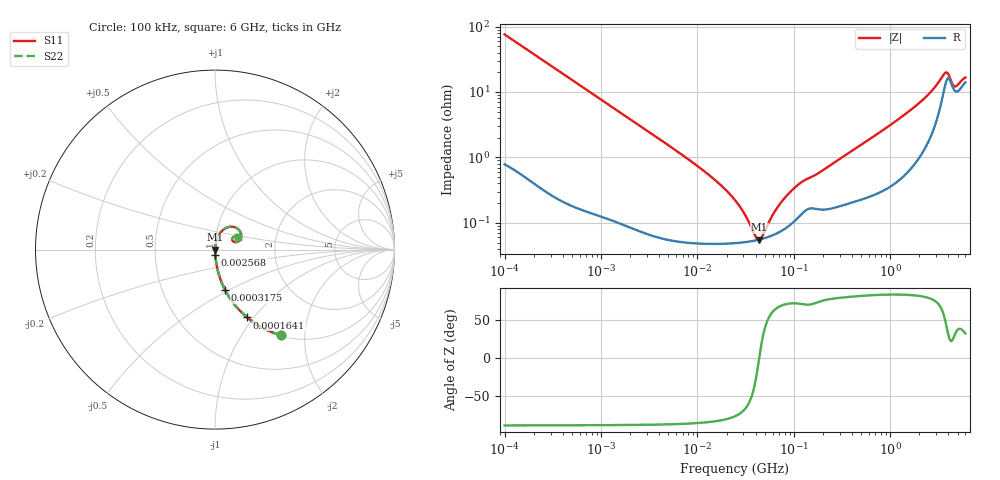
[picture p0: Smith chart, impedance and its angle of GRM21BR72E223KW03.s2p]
!Murata Part Number: GRM21BR72E223KW03
!These Parameters are Measured in Series Mode Connection
!Data Generated on Mar 30, 2021
!  o--ll--o
!Port1  Port2
!  o------o
!Operation Temp=25[degC], DC Bias Voltage=0[V]
!Freq. Start=100[kHz] Stop=6[GHz] 401[Steps]
# Hz S RI R 50
!Freq.(Hz) S11(Real) S11(Imag) S21(Real) S21(Imag) S12(Real) S12(Imag) S22(Real) S22(Imag)
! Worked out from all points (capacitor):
!   401 points, 100 kHz to 6 GHz, reference 50 ohm
!   read as one part in series: C = 21 nF near 105.7 kHz
!   lowest |Z| = 55.5 mohm at 43.64 MHz (marker M1)
!   series resonance near 43.7 MHz, so ESL is about 630 pH
!   S11 on the Smith chart (normalised r, x): 100 kHz: 1.02, -1.51; 164.1 kHz: 1.01, -0.93; 317.5 kHz: 1.01, -0.48; 2.568 MHz: 1.00, -0.06; 6 GHz: 1.28, +0.18
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100000  0.3654 -0.4764  0.6346 0.4764  0.6346 0.4764  0.3654 -0.4764
164065  0.1792 -0.3782  0.8208 0.3782  0.8208 0.3782  0.1792 -0.3782
317472  0.0567 -0.226  0.9433 0.226  0.9433 0.226  0.0567 -0.226
631452  0.016 -0.119  0.984 0.119  0.984 0.119  0.016 -0.119
2567761  0.00163 -0.03  0.9984 0.03  0.9984 0.03  0.00163 -0.03
3987316  0.000964 -0.0193  0.999 0.0193  0.999 0.0193  0.000964 -0.0193
1.337449e7  0.000505 -0.00526  0.9995 0.00526  0.9995 0.00526  0.000505 -0.00526
2.517799e7  0.000495 -0.00206  0.9995 0.00206  0.9995 0.00206  0.000495 -0.00206
3.137502e7  0.000509 -0.0012  0.9995 0.0012  0.9995 0.0012  0.000509 -0.0012
4.018763e7  0.00054 -0.000297  0.9995 0.000297  0.9995 0.000297  0.00054 -0.000297
4.36444e7  0.000555 -4.5e-06  0.9994 4.5e-06  0.9994 4.5e-06  0.000555 -4.5e-06
4.739851e7  0.000573 0.000288  0.9994 -0.000288  0.9994 -0.000288  0.000573 0.000288
6.414516e7  0.000675 0.00139  0.9993 -0.00139  0.9993 -0.00139  0.000675 0.00139
7.993314e7  0.00081 0.00225  0.9992 -0.00225  0.9992 -0.00225  0.00081 0.00225
1.111915e8  0.00123 0.00365  0.9988 -0.00365  0.9988 -0.00365  0.00123 0.00365
1.546735e8  0.00169 0.0048  0.9983 -0.0048  0.9983 -0.0048  0.00169 0.0048
9.76689e8  0.0044 0.0301  0.9956 -0.0301  0.9956 -0.0301  0.0044 0.0301
2.55767e9  0.0271 0.0899  0.9729 -0.0899  0.9729 -0.0899  0.0271 0.0899
3.65708e9  0.1217 0.1197  0.8783 -0.1197  0.8783 -0.1197  0.1217 0.1197
3.971646e9  0.1462 0.0732  0.8538 -0.0732  0.8538 -0.0732  0.1462 0.0732
4.68428e9  0.0966 0.0511  0.9034 -0.0511  0.9034 -0.0511  0.0966 0.0511
6e9  0.1288 0.0676  0.8712 -0.0676  0.8712 -0.0676  0.1288 0.0676
